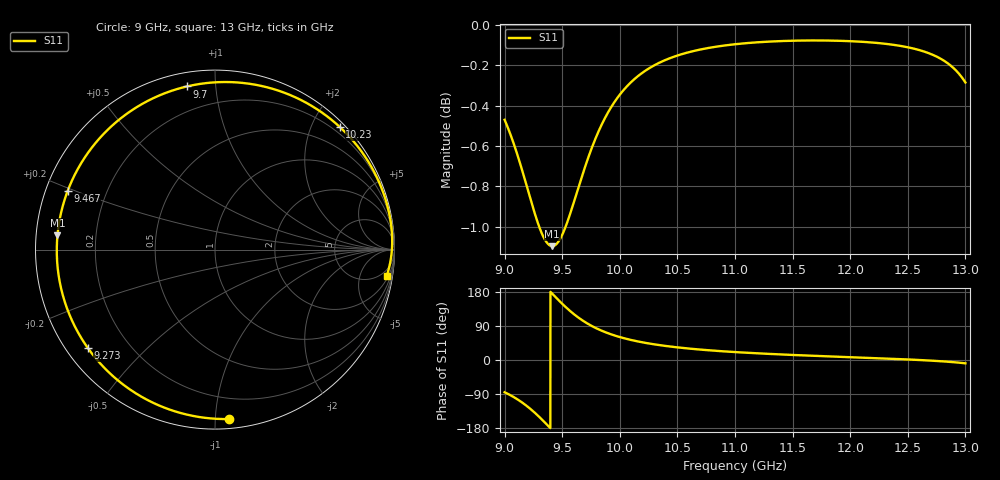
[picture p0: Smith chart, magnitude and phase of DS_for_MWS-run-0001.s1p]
! TOUCHSTONE file generated by CST DESIGN STUDIO
! Date and time: Wed Feb  5 13:45:04 2025
! Project name: C:\Work\MatlabApps\UnitCellOptimizationMatlab\CST\unitcell.cst
! Tree item: Tasks\Sweep1\SPara1\S-Parameters
! Header version: 2024
! Port assignment regex: !\s*Touchstone port\s*([0-9]+)\s*=\s*(CST MWS port|CST DES external port|CST DES block port)\s*(.+)\s* \(\"(.*)\"\)(\s*mode\s*([0-9]+))?.*
! Touchstone port assignment:
! Touchstone port 1 = CST DES external port 1 ("")
# GHz S MA R 50
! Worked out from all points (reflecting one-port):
!   4001 points, 9 GHz to 13 GHz, reference 50 ohm
!   lowest |S11| = -1.1 dB at 9.414 GHz (marker M1), VSWR 15.85, Z = 3.16 + j2.26 ohm
!   phase of S11 starts at -85 deg and turns -284 deg over the sweep
!   S11 on the Smith chart (normalised r, x): 9 GHz: 0.06, -1.09; 9.273 GHz: 0.06, -0.34; 9.467 GHz: 0.06, +0.19; 9.7 GHz: 0.07, +0.84; 10.23 GHz: 0.09, +2.44; 13 GHz: 3, -12
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9  0.9473 -85.1
9.08  0.9343 -98.0
9.149  0.921 -111.5
9.212  0.908 -126.1
9.273  0.8959 -142.2
9.347  0.8849 -164.2
9.381  0.8822 -174.8
9.414  0.8813 174.8
9.467  0.8836 158.3
9.5  0.887 148.4
9.549  0.8943 134.5
9.597  0.903 122.1
9.647  0.9125 110.5
9.7  0.9224 99.8
9.766  0.9336 88.3
9.845  0.9449 77.0
9.92  0.9536 68.2
10  0.9609 60.5
10.11  0.9686 52.0
10.235  0.9747 44.5
10.5  0.9826 33.3
10.723  0.9863 26.9
11  0.989 20.9
11.5  0.991 13.3
12  0.9907 7.4
12.5  0.9873 1.5
12.783  0.9809 -3.1
13  0.9676 -8.8
